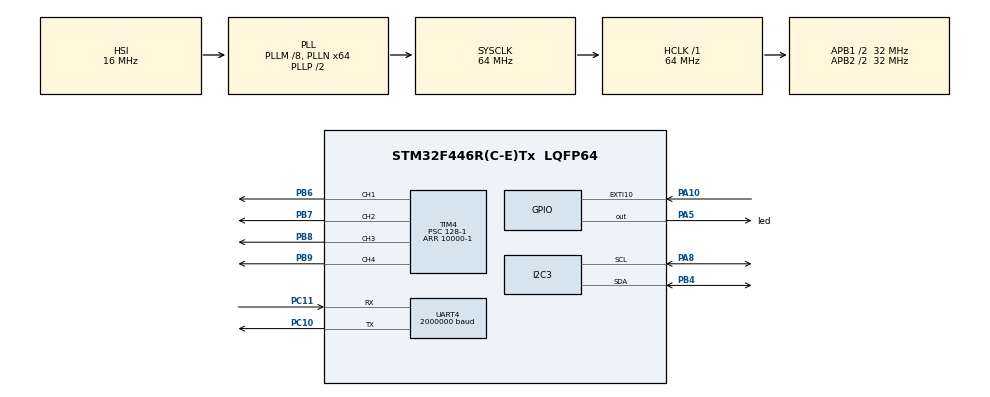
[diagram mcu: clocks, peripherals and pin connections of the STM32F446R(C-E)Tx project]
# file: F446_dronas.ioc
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Dma.I2C3_RX.1.Direction=DMA_PERIPH_TO_MEMORY
Dma.I2C3_RX.1.FIFOMode=DMA_FIFOMODE_DISABLE
Dma.I2C3_RX.1.Instance=DMA1_Stream1
Dma.I2C3_RX.1.MemDataAlignment=DMA_MDATAALIGN_BYTE
Dma.I2C3_RX.1.MemInc=DMA_MINC_ENABLE
Dma.I2C3_RX.1.Mode=DMA_NORMAL
Dma.I2C3_RX.1.PeriphDataAlignment=DMA_PDATAALIGN_BYTE
Dma.I2C3_RX.1.PeriphInc=DMA_PINC_DISABLE
Dma.I2C3_RX.1.Priority=DMA_PRIORITY_LOW
Dma.I2C3_TX.2.Direction=DMA_MEMORY_TO_PERIPH
Dma.I2C3_TX.2.FIFOMode=DMA_FIFOMODE_DISABLE
Dma.I2C3_TX.2.Instance=DMA1_Stream4
Dma.I2C3_TX.2.MemDataAlignment=DMA_MDATAALIGN_BYTE
Dma.I2C3_TX.2.MemInc=DMA_MINC_ENABLE
Dma.I2C3_TX.2.Mode=DMA_NORMAL
Dma.I2C3_TX.2.PeriphDataAlignment=DMA_PDATAALIGN_BYTE
Dma.I2C3_TX.2.PeriphInc=DMA_PINC_DISABLE
Dma.I2C3_TX.2.Priority=DMA_PRIORITY_LOW
Dma.Request0=UART4_RX
Dma.Request1=I2C3_RX
Dma.Request2=I2C3_TX
Dma.UART4_RX.0.Direction=DMA_PERIPH_TO_MEMORY
Dma.UART4_RX.0.FIFOMode=DMA_FIFOMODE_DISABLE
Dma.UART4_RX.0.Instance=DMA1_Stream2
Dma.UART4_RX.0.MemDataAlignment=DMA_MDATAALIGN_BYTE
Dma.UART4_RX.0.MemInc=DMA_MINC_ENABLE
Dma.UART4_RX.0.Mode=DMA_CIRCULAR
Dma.UART4_RX.0.PeriphDataAlignment=DMA_PDATAALIGN_BYTE
Dma.UART4_RX.0.PeriphInc=DMA_PINC_DISABLE
Dma.UART4_RX.0.Priority=DMA_PRIORITY_VERY_HIGH
I2C3.I2C_Mode=I2C_Fast
Mcu.Family=STM32F4
Mcu.Name=STM32F446R(C-E)Tx
Mcu.Package=LQFP64
NVIC.DMA1_Stream1_IRQn=true\:0\:0\:false\:false\:true\:false\:true
NVIC.DMA1_Stream2_IRQn=true\:0\:0\:false\:false\:true\:false\:true
NVIC.DMA1_Stream4_IRQn=true\:0\:0\:false\:false\:true\:false\:true
NVIC.EXTI15_10_IRQn=true\:0\:0\:false\:false\:true\:true\:true
NVIC.I2C3_ER_IRQn=true\:0\:0\:false\:false\:true\:true\:true
NVIC.I2C3_EV_IRQn=true\:0\:0\:false\:false\:true\:true\:true
NVIC.PriorityGroup=NVIC_PRIORITYGROUP_4
NVIC.TIM8_TRG_COM_TIM14_IRQn=true\:0\:0\:false\:false\:true\:true\:true
PA10.GPIO_PuPd=GPIO_PULLDOWN
PA10.Signal=GPXTI10
PA13.Mode=Serial_Wire
PA13.Signal=SYS_JTMS-SWDIO
PA14.Mode=Serial_Wire
PA14.Signal=SYS_JTCK-SWCLK
PA5.GPIO_Label=led
PA5.Signal=GPIO_Output
PA8.Mode=I2C
PA8.Signal=I2C3_SCL
PB4.Mode=I2C
PB4.Signal=I2C3_SDA
PB6.Signal=S_TIM4_CH1
PB7.Signal=S_TIM4_CH2
PB8.Signal=S_TIM4_CH3
PB9.Signal=S_TIM4_CH4
PC10.Mode=Asynchronous
PC10.Signal=UART4_TX
PC11.Mode=Asynchronous
PC11.Signal=UART4_RX
ProjectManager.HeapSize=0x200
ProjectManager.StackSize=0x400
ProjectManager.TargetToolchain=STM32CubeIDE
RCC.AHBFreq_Value=64000000
RCC.APB1CLKDivider=RCC_HCLK_DIV2
RCC.APB1Freq_Value=32000000
RCC.APB1TimFreq_Value=64000000
RCC.APB2CLKDivider=RCC_HCLK_DIV2
RCC.APB2Freq_Value=32000000
RCC.APB2TimFreq_Value=64000000
RCC.CortexFreq_Value=64000000
RCC.HCLKFreq_Value=64000000
RCC.PLLM=8
RCC.PLLN=64
RCC.SYSCLKFreq_VALUE=64000000
RCC.SYSCLKSource=RCC_SYSCLKSOURCE_PLLCLK
RCC.USBFreq_Value=64000000
RCC.VCOOutputFreq_Value=128000000
SH.S_TIM4_CH1.0=TIM4_CH1,PWM Generation1 CH1
SH.S_TIM4_CH2.0=TIM4_CH2,PWM Generation2 CH2
SH.S_TIM4_CH3.0=TIM4_CH3,PWM Generation3 CH3
SH.S_TIM4_CH4.0=TIM4_CH4,PWM Generation4 CH4
TIM14.AutoReloadPreload=TIM_AUTORELOAD_PRELOAD_DISABLE
TIM14.Period=500*5
TIM14.Prescaler=12800
TIM4.AutoReloadPreload=TIM_AUTORELOAD_PRELOAD_ENABLE
TIM4.Channel-PWM\ Generation1\ CH1=TIM_CHANNEL_1
TIM4.Channel-PWM\ Generation2\ CH2=TIM_CHANNEL_2
TIM4.Channel-PWM\ Generation3\ CH3=TIM_CHANNEL_3
TIM4.Channel-PWM\ Generation4\ CH4=TIM_CHANNEL_4
TIM4.OCPolarity_2=TIM_OCPOLARITY_HIGH
TIM4.Period=10000-1
TIM4.Prescaler=128-1
TIM4.Pulse-PWM\ Generation1\ CH1=500-1
TIM4.Pulse-PWM\ Generation2\ CH2=500-1
TIM4.Pulse-PWM\ Generation3\ CH3=500-1
TIM4.Pulse-PWM\ Generation4\ CH4=500-1
UART4.BaudRate=2000000
UART4.VirtualMode=Asynchronous
VP_TIM14_VS_ClockSourceINT.Mode=Enable_Timer
VP_TIM4_VS_ClockSourceINT.Mode=Internal
board=custom

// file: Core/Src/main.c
/* USER CODE BEGIN Header */
/**
 ******************************************************************************
 * @file           : main.c
 * @brief          : Main program body
 ******************************************************************************
 * @attention
 *
 * <h2><center>&copy; Copyright (c) 2020 STMicroelectronics.
 * All rights reserved.</center></h2>
 *
 * This software component is licensed by ST under BSD 3-Clause license,
 * the "License"; You may not use this file except in compliance with the
 * License. You may obtain a copy of the License at:
 *                        opensource.org/licenses/BSD-3-Clause
 *
 ******************************************************************************
 */
/* USER CODE END Header */
#include "main.h"

/* USER CODE BEGIN Includes */
#include "AccGyro.h"
#include "Motors.h"
#include "settings.h"
/* USER CODE END Includes */

/* USER CODE BEGIN PD */

#define MPU_PackSize 6 + 2 + 6

/* USER CODE END PD */

I2C_HandleTypeDef hi2c3;
DMA_HandleTypeDef hdma_i2c3_rx;
DMA_HandleTypeDef hdma_i2c3_tx;

TIM_HandleTypeDef htim4;
TIM_HandleTypeDef htim14;

UART_HandleTypeDef huart4;
DMA_HandleTypeDef hdma_uart4_rx;

/* USER CODE BEGIN PV */

struct {
	uint8_t dataUart :1;
	uint8_t accDataReadyRead :1;
	uint8_t accDataReady :1;
	uint8_t rem :5;
} mFlags = { 0, 1, 0, 0 };

uint8_t mDataRead[MPU_PackSize];	//Acc + Temp + Gyro

/* USER CODE END PV */

void SystemClock_Config(void);
static void MX_GPIO_Init(void);
static void MX_DMA_Init(void);
static void MX_TIM4_Init(void);
static void MX_UART4_Init(void);
static void MX_TIM14_Init(void);
static void MX_I2C3_Init(void);
/* USER CODE BEGIN PFP */
uint8_t getCRC(uint8_t *message, uint8_t length);

void HAL_UART_RxCpltCallback(UART_HandleTypeDef *huart);

void HAL_TIM_PeriodElapsedCallback(TIM_HandleTypeDef *htim);

void HAL_GPIO_EXTI_Callback(uint16_t GPIO_Pin);

void HAL_I2C_MemRxCpltCallback(I2C_HandleTypeDef *hi2c);

/* USER CODE END PFP */

int main(void)
{

  /* MCU Configuration--------------------------------------------------------*/

  /* Reset of all peripherals, Initializes the Flash interface and the Systick. */
  HAL_Init();

  /* Configure the system clock */
  SystemClock_Config();

  /* Initialize all configured peripherals */
  MX_GPIO_Init();
  MX_DMA_Init();
  MX_TIM4_Init();
  MX_UART4_Init();
  MX_TIM14_Init();
  MX_I2C3_Init();
  /* USER CODE BEGIN 2 */

	//==== MPU init ================================================================
	AG_start(&hi2c3);

	//==== PWM init ================================================================
	HAL_TIM_Base_Start(&htim4);

	HAL_TIM_PWM_Start(&htim4, TIM_CHANNEL_1);	//BL
	HAL_TIM_PWM_Start(&htim4, TIM_CHANNEL_2);	//FL
	HAL_TIM_PWM_Start(&htim4, TIM_CHANNEL_3);	//BR
	HAL_TIM_PWM_Start(&htim4, TIM_CHANNEL_4);	//FR

	HAL_TIM_Base_Start_IT(&htim14);  //apsauga nuo negaunamu duomenu
	Motors_Init(TIM4);

	//==== uart init ===============================================================
	HAL_UART_Receive_DMA(&huart4, Motors.packet, 10);
	HAL_Delay(1);
	HAL_UART_DMAStop(&huart4);
	HAL_UART_Receive_DMA(&huart4, Motors.packet, 10);

  /* USER CODE END 2 */

  /* Infinite loop */
  /* USER CODE BEGIN WHILE */
	while (1) {

		//==== ACC/GYRO duomenu nuskaitymas ========================================
		//nuskaityti duomenis is akselerometro ir giroskopo kai duomenys paruosti
		if (mFlags.accDataReadyRead) {
			mFlags.accDataReadyRead = 0;
			HAL_I2C_Mem_Read_DMA(&hi2c3, MPU_ADDR << 1, ACCEL_XOUT_H_REG, 1, mDataRead, MPU_PackSize);
		}

		//apdoroti nuskaitytus duomenis
		if (mFlags.accDataReady) {
			mFlags.accDataReady = 0;
			AG_AddNewValues((int16_t) ((mDataRead[0] << 8) | mDataRead[1]), (int16_t) ((mDataRead[2] << 8) | mDataRead[3]),
					(int16_t) ((mDataRead[4] << 8) | mDataRead[5]));
		}

    /* USER CODE END WHILE */

    /* USER CODE BEGIN 3 */
		if (mFlags.dataUart) {
			mFlags.dataUart = 0;
			if (Motors.packet[9] == getCRC(Motors.packet, 9)) {
				TIM14->CNT = 0;
				switch (Motors.packet[0]) {
					case '3':
						Motors_Set();
						break;
					case 'H':	//Hold
						Motors_Hold();
						break;
						//todo kazkur patikrinti del "Z"
				}
			} else {
				//reset uart
				HAL_UART_DMAStop(&huart4);
				HAL_UART_Receive_DMA(&huart4, Motors.packet, 10);
			}
		}
	}
  /* USER CODE END 3 */
}

void SystemClock_Config(void)
{
  RCC_OscInitTypeDef RCC_OscInitStruct = {0};
  RCC_ClkInitTypeDef RCC_ClkInitStruct = {0};

  /** Configure the main internal regulator output voltage
  */
  __HAL_RCC_PWR_CLK_ENABLE();
  __HAL_PWR_VOLTAGESCALING_CONFIG(PWR_REGULATOR_VOLTAGE_SCALE3);
  /** Initializes the RCC Oscillators according to the specified parameters
  * in the RCC_OscInitTypeDef structure.
  */
  RCC_OscInitStruct.OscillatorType = RCC_OSCILLATORTYPE_HSI;
  RCC_OscInitStruct.HSIState = RCC_HSI_ON;
  RCC_OscInitStruct.HSICalibrationValue = RCC_HSICALIBRATION_DEFAULT;
  RCC_OscInitStruct.PLL.PLLState = RCC_PLL_ON;
  RCC_OscInitStruct.PLL.PLLSource = RCC_PLLSOURCE_HSI;
  RCC_OscInitStruct.PLL.PLLM = 8;
  RCC_OscInitStruct.PLL.PLLN = 64;
  RCC_OscInitStruct.PLL.PLLP = RCC_PLLP_DIV2;
  RCC_OscInitStruct.PLL.PLLQ = 2;
  RCC_OscInitStruct.PLL.PLLR = 2;
  if (HAL_RCC_OscConfig(&RCC_OscInitStruct) != HAL_OK)
  {
    Error_Handler();
  }
  /** Initializes the CPU, AHB and APB buses clocks
  */
  RCC_ClkInitStruct.ClockType = RCC_CLOCKTYPE_HCLK|RCC_CLOCKTYPE_SYSCLK
                              |RCC_CLOCKTYPE_PCLK1|RCC_CLOCKTYPE_PCLK2;
  RCC_ClkInitStruct.SYSCLKSource = RCC_SYSCLKSOURCE_PLLCLK;
  RCC_ClkInitStruct.AHBCLKDivider = RCC_SYSCLK_DIV1;
  RCC_ClkInitStruct.APB1CLKDivider = RCC_HCLK_DIV2;
  RCC_ClkInitStruct.APB2CLKDivider = RCC_HCLK_DIV2;

  if (HAL_RCC_ClockConfig(&RCC_ClkInitStruct, FLASH_LATENCY_2) != HAL_OK)
  {
    Error_Handler();
  }
}

static void MX_I2C3_Init(void)
{

  hi2c3.Instance = I2C3;
  hi2c3.Init.ClockSpeed = 400000;
  hi2c3.Init.DutyCycle = I2C_DUTYCYCLE_2;
  hi2c3.Init.OwnAddress1 = 0;
  hi2c3.Init.AddressingMode = I2C_ADDRESSINGMODE_7BIT;
  hi2c3.Init.DualAddressMode = I2C_DUALADDRESS_DISABLE;
  hi2c3.Init.OwnAddress2 = 0;
  hi2c3.Init.GeneralCallMode = I2C_GENERALCALL_DISABLE;
  hi2c3.Init.NoStretchMode = I2C_NOSTRETCH_DISABLE;
  if (HAL_I2C_Init(&hi2c3) != HAL_OK)
  {
    Error_Handler();
  }

}

static void MX_TIM4_Init(void)
{

  TIM_ClockConfigTypeDef sClockSourceConfig = {0};
  TIM_MasterConfigTypeDef sMasterConfig = {0};
  TIM_OC_InitTypeDef sConfigOC = {0};

  htim4.Instance = TIM4;
  htim4.Init.Prescaler = 128-1;
  htim4.Init.CounterMode = TIM_COUNTERMODE_UP;
  htim4.Init.Period = 10000-1;
  htim4.Init.ClockDivision = TIM_CLOCKDIVISION_DIV1;
  htim4.Init.AutoReloadPreload = TIM_AUTORELOAD_PRELOAD_ENABLE;
  if (HAL_TIM_Base_Init(&htim4) != HAL_OK)
  {
    Error_Handler();
  }
  sClockSourceConfig.ClockSource = TIM_CLOCKSOURCE_INTERNAL;
  if (HAL_TIM_ConfigClockSource(&htim4, &sClockSourceConfig) != HAL_OK)
  {
    Error_Handler();
  }
  if (HAL_TIM_PWM_Init(&htim4) != HAL_OK)
  {
    Error_Handler();
  }
  sMasterConfig.MasterOutputTrigger = TIM_TRGO_RESET;
  sMasterConfig.MasterSlaveMode = TIM_MASTERSLAVEMODE_DISABLE;
  if (HAL_TIMEx_MasterConfigSynchronization(&htim4, &sMasterConfig) != HAL_OK)
  {
    Error_Handler();
  }
  sConfigOC.OCMode = TIM_OCMODE_PWM1;
  sConfigOC.Pulse = 500-1;
  sConfigOC.OCPolarity = TIM_OCPOLARITY_HIGH;
  sConfigOC.OCFastMode = TIM_OCFAST_DISABLE;
  if (HAL_TIM_PWM_ConfigChannel(&htim4, &sConfigOC, TIM_CHANNEL_1) != HAL_OK)
  {
    Error_Handler();
  }
  if (HAL_TIM_PWM_ConfigChannel(&htim4, &sConfigOC, TIM_CHANNEL_2) != HAL_OK)
  {
    Error_Handler();
  }
  if (HAL_TIM_PWM_ConfigChannel(&htim4, &sConfigOC, TIM_CHANNEL_3) != HAL_OK)
  {
    Error_Handler();
  }
  if (HAL_TIM_PWM_ConfigChannel(&htim4, &sConfigOC, TIM_CHANNEL_4) != HAL_OK)
  {
    Error_Handler();
  }
  HAL_TIM_MspPostInit(&htim4);

}

static void MX_TIM14_Init(void)
{

  htim14.Instance = TIM14;
  htim14.Init.Prescaler = 12800;
  htim14.Init.CounterMode = TIM_COUNTERMODE_UP;
  htim14.Init.Period = 500*5;
  htim14.Init.ClockDivision = TIM_CLOCKDIVISION_DIV1;
  htim14.Init.AutoReloadPreload = TIM_AUTORELOAD_PRELOAD_DISABLE;
  if (HAL_TIM_Base_Init(&htim14) != HAL_OK)
  {
    Error_Handler();
  }

}

static void MX_UART4_Init(void)
{

  huart4.Instance = UART4;
  huart4.Init.BaudRate = 2000000;
  huart4.Init.WordLength = UART_WORDLENGTH_8B;
  huart4.Init.StopBits = UART_STOPBITS_1;
  huart4.Init.Parity = UART_PARITY_NONE;
  huart4.Init.Mode = UART_MODE_TX_RX;
  huart4.Init.HwFlowCtl = UART_HWCONTROL_NONE;
  huart4.Init.OverSampling = UART_OVERSAMPLING_16;
  if (HAL_UART_Init(&huart4) != HAL_OK)
  {
    Error_Handler();
  }

}

static void MX_DMA_Init(void)
{

  /* DMA controller clock enable */
  __HAL_RCC_DMA1_CLK_ENABLE();

  /* DMA interrupt init */
  /* DMA1_Stream1_IRQn interrupt configuration */
  HAL_NVIC_SetPriority(DMA1_Stream1_IRQn, 0, 0);
  HAL_NVIC_EnableIRQ(DMA1_Stream1_IRQn);
  /* DMA1_Stream2_IRQn interrupt configuration */
  HAL_NVIC_SetPriority(DMA1_Stream2_IRQn, 0, 0);
  HAL_NVIC_EnableIRQ(DMA1_Stream2_IRQn);
  /* DMA1_Stream4_IRQn interrupt configuration */
  HAL_NVIC_SetPriority(DMA1_Stream4_IRQn, 0, 0);
  HAL_NVIC_EnableIRQ(DMA1_Stream4_IRQn);

}

static void MX_GPIO_Init(void)
{
  GPIO_InitTypeDef GPIO_InitStruct = {0};

  /* GPIO Ports Clock Enable */
  __HAL_RCC_GPIOA_CLK_ENABLE();
  __HAL_RCC_GPIOC_CLK_ENABLE();
  __HAL_RCC_GPIOB_CLK_ENABLE();

  /*Configure GPIO pin Output Level */
  HAL_GPIO_WritePin(led_GPIO_Port, led_Pin, GPIO_PIN_RESET);

  /*Configure GPIO pin : led_Pin */
  GPIO_InitStruct.Pin = led_Pin;
  GPIO_InitStruct.Mode = GPIO_MODE_OUTPUT_PP;
  GPIO_InitStruct.Pull = GPIO_NOPULL;
  GPIO_InitStruct.Speed = GPIO_SPEED_FREQ_LOW;
  HAL_GPIO_Init(led_GPIO_Port, &GPIO_InitStruct);

  /*Configure GPIO pin : PA10 */
  GPIO_InitStruct.Pin = GPIO_PIN_10;
  GPIO_InitStruct.Mode = GPIO_MODE_IT_RISING;
  GPIO_InitStruct.Pull = GPIO_PULLDOWN;
  HAL_GPIO_Init(GPIOA, &GPIO_InitStruct);

  /* EXTI interrupt init*/
  HAL_NVIC_SetPriority(EXTI15_10_IRQn, 0, 0);
  HAL_NVIC_EnableIRQ(EXTI15_10_IRQn);

}

/* USER CODE BEGIN 4 */
uint8_t getCRC(uint8_t *message, uint8_t length) {
	uint8_t crc = 0;

	for (uint8_t i = 0; i < length; i++) {
		crc ^= *(message + i);
		for (uint8_t j = 0; j < 8; j++) {
			if (crc & 1) crc ^= 0x91;  //CRC7_POLY = 0x91
			crc >>= 1;
		}
	}
	return crc;
}

void HAL_TIM_PeriodElapsedCallback(TIM_HandleTypeDef *htim) {
	if (htim->Instance == TIM14) {
		HAL_UART_DMAStop(&huart4);
		HAL_UART_Receive_DMA(&huart4, Motors.packet, 10);

		TIM4->CCR1 = minMotorValue;
		TIM4->CCR2 = minMotorValue;
		TIM4->CCR3 = minMotorValue;
		TIM4->CCR4 = minMotorValue;
	}
}

void HAL_UART_RxCpltCallback(UART_HandleTypeDef *huart) {
	/* Prevent unused argument(s) compilation warning */
	UNUSED(huart);
	mFlags.dataUart = 1;
}

void HAL_GPIO_EXTI_Callback(uint16_t GPIO_Pin) {
	if (GPIO_Pin == GPIO_PIN_10) {
		mFlags.accDataReadyRead = 1;
	}
}

void HAL_I2C_MemRxCpltCallback(I2C_HandleTypeDef *hi2c) {
	if (hi2c->Instance == I2C3) mFlags.accDataReady = 1;
}

/* USER CODE END 4 */

void Error_Handler(void)
{
}

/************************ (C) COPYRIGHT STMicroelectronics *****END OF FILE****/
